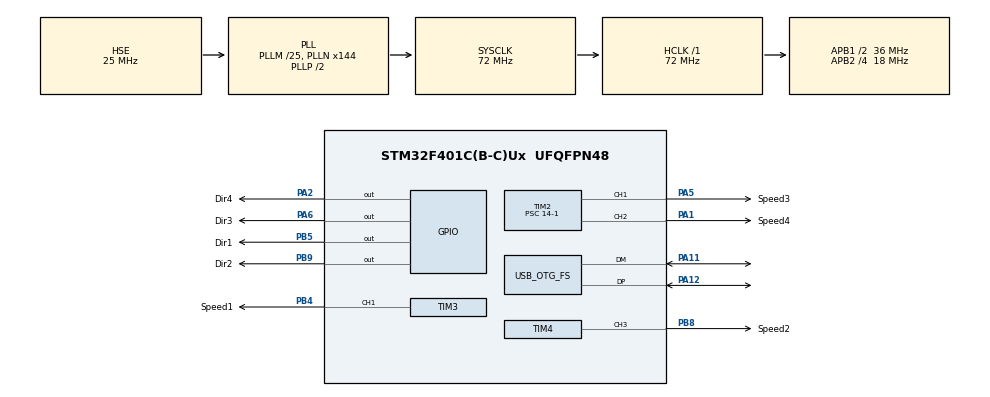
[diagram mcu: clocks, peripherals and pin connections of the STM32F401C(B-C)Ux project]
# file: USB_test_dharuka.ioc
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Mcu.Family=STM32F4
Mcu.Name=STM32F401C(B-C)Ux
Mcu.Package=UFQFPN48
NVIC.OTG_FS_IRQn=true\:0\:0\:false\:false\:true\:false\:true\:true
NVIC.PriorityGroup=NVIC_PRIORITYGROUP_4
PA1.GPIO_Label=Speed4
PA1.Signal=S_TIM2_CH2
PA11.Mode=Device_Only
PA11.Signal=USB_OTG_FS_DM
PA12.Mode=Device_Only
PA12.Signal=USB_OTG_FS_DP
PA2.GPIO_Label=Dir4
PA2.Signal=GPIO_Output
PA5.GPIO_Label=Speed3
PA5.Signal=S_TIM2_CH1_ETR
PA6.GPIO_Label=Dir3
PA6.Signal=GPIO_Output
PB4.GPIO_Label=Speed1
PB4.Signal=S_TIM3_CH1
PB5.GPIO_Label=Dir1
PB5.Signal=GPIO_Output
PB8.GPIO_Label=Speed2
PB8.Signal=S_TIM4_CH3
PB9.GPIO_Label=Dir2
PB9.Signal=GPIO_Output
PH0\ -\ OSC_IN.Mode=HSE-External-Oscillator
PH0\ -\ OSC_IN.Signal=RCC_OSC_IN
PH1\ -\ OSC_OUT.Mode=HSE-External-Oscillator
PH1\ -\ OSC_OUT.Signal=RCC_OSC_OUT
ProjectManager.HeapSize=0x200
ProjectManager.StackSize=0x400
ProjectManager.TargetToolchain=STM32CubeIDE
RCC.48MHZClocksFreq_Value=48000000
RCC.AHBFreq_Value=72000000
RCC.APB1CLKDivider=RCC_HCLK_DIV2
RCC.APB1Freq_Value=36000000
RCC.APB1TimFreq_Value=72000000
RCC.APB2CLKDivider=RCC_HCLK_DIV4
RCC.APB2Freq_Value=18000000
RCC.APB2TimFreq_Value=36000000
RCC.CortexFreq_Value=72000000
RCC.HCLKFreq_Value=72000000
RCC.HSE_VALUE=25000000
RCC.HSI_VALUE=16000000
RCC.LSE_VALUE=32768
RCC.PLLM=25
RCC.PLLN=144
RCC.PLLQ=3
RCC.SYSCLKFreq_VALUE=72000000
RCC.SYSCLKSource=RCC_SYSCLKSOURCE_PLLCLK
RCC.VCOOutputFreq_Value=144000000
SH.S_TIM2_CH1_ETR.0=TIM2_CH1,PWM Generation1 CH1
SH.S_TIM2_CH2.0=TIM2_CH2,PWM Generation2 CH2
SH.S_TIM3_CH1.0=TIM3_CH1,PWM Generation1 CH1
SH.S_TIM4_CH3.0=TIM4_CH3,PWM Generation3 CH3
TIM2.Channel-PWM\ Generation1\ CH1=TIM_CHANNEL_1
TIM2.Channel-PWM\ Generation2\ CH2=TIM_CHANNEL_2
TIM2.Period=255
TIM2.Prescaler=14-1
TIM3.Channel-PWM\ Generation1\ CH1=TIM_CHANNEL_1
TIM3.Period=255
TIM3.Prescaler=14-1
TIM4.Channel-PWM\ Generation3\ CH3=TIM_CHANNEL_3
TIM4.Period=255
TIM4.Prescaler=14-1
USB_DEVICE.CLASS_NAME_FS=CDC
USB_DEVICE.VirtualMode=Cdc
USB_DEVICE.VirtualModeFS=Cdc_FS
USB_OTG_FS.VirtualMode=Device_Only
VP_USB_DEVICE_VS_USB_DEVICE_CDC_FS.Mode=CDC_FS
board=custom

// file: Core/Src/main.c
/* USER CODE BEGIN Header */
/**
  ******************************************************************************
  * @file           : main.c
  * @brief          : Main program body
  ******************************************************************************
  * @attention
  *
  * Copyright (c) 2024 STMicroelectronics.
  * All rights reserved.
  *
  * This software is licensed under terms that can be found in the LICENSE file
  * in the root directory of this software component.
  * If no LICENSE file comes with this software, it is provided AS-IS.
  *
  ******************************************************************************
  */
/* USER CODE END Header */
#include "main.h"
#include "usb_device.h"

TIM_HandleTypeDef htim2;
TIM_HandleTypeDef htim3;
TIM_HandleTypeDef htim4;

/* USER CODE BEGIN PV */
uint8_t Buffer1[64];
uint8_t Buffer2[64];
uint8_t Buffer3[128];
uint8_t id[16];
uint8_t value1[16];
uint8_t value2[16];
uint8_t set=0;
uint8_t size=0;
uint8_t idx=14;
uint8_t nxt=0;
uint8_t j=0;
/* USER CODE END PV */

void SystemClock_Config(void);
static void MX_GPIO_Init(void);
static void MX_TIM2_Init(void);
static void MX_TIM3_Init(void);
static void MX_TIM4_Init(void);
/* USER CODE BEGIN PFP */
void USBRxHandler(uint8_t* buf,uint16_t len);
void Buffer_operation_strich(uint8_t *buf3,uint8_t *buf2,uint8_t *buf1);
uint8_t Buffer_trim_size(uint8_t *buf);
void filter_bytestream(uint8_t *buf);
void byte_stream_operation(uint8_t* buf);
/* USER CODE END PFP */

/* USER CODE BEGIN 0 */
void USBRxHandler(uint8_t* buf,uint16_t len){
	switch(set)
	{
	case(0):
			memset(Buffer1,0,64);
			memset(Buffer2,0,64);
			memcpy(Buffer1,buf,len);
			memset(buf,0,len);
			if(Buffer1[3]<=53)
			{
				Buffer_operation_strich(Buffer3,Buffer2,Buffer1);
				size=Buffer_trim_size(Buffer3);
				byte_stream_operation(Buffer3);
				TIM3->CCR1=value1[0];
				HAL_GPIO_WritePin(GPIOB,GPIO_PIN_5,value2[0]);
				TIM4->CCR3=value1[1];
				HAL_GPIO_WritePin(GPIOB,GPIO_PIN_9,value2[1]);
				TIM2->CCR1=value1[2];
				HAL_GPIO_WritePin(GPIOA,GPIO_PIN_6,value2[2]);
				TIM2->CCR2=value1[3];
				HAL_GPIO_WritePin(GPIOA,GPIO_PIN_2,value2[3]);
				set=0;
				return;

			}
			set++;
			return;
	case(1):
			memset(Buffer2,0,64);
			memcpy(Buffer2,buf,len);
			memset(buf,0,len);
			memset(Buffer3,0,64);
			Buffer_operation_strich(Buffer3,Buffer2,Buffer1);
			size=Buffer_trim_size(Buffer3);
			byte_stream_operation(Buffer3);
			TIM3->CCR1=value1[0];
			HAL_GPIO_WritePin(GPIOB,GPIO_PIN_5,value2[0]);
			TIM4->CCR3=value1[1];
			HAL_GPIO_WritePin(GPIOB,GPIO_PIN_9,value2[1]);
			TIM2->CCR1=value1[2];
			HAL_GPIO_WritePin(GPIOA,GPIO_PIN_6,value2[2]);
			TIM2->CCR2=value1[3];
			HAL_GPIO_WritePin(GPIOA,GPIO_PIN_2,value2[3]);
			set=0;
			return;
	}
	return;
}
void Buffer_operation_strich(uint8_t *buf3,uint8_t *buf2,uint8_t *buf1)
{
	for(uint8_t i=0;i<64;i++)
	{
		buf3[i]=buf1[i];
	}
	for(uint8_t i=0;i<64;i++)
	{
		buf3[64+i]=buf2[i];
	}
}
uint8_t Buffer_trim_size(uint8_t *buf)
{
	for(j=0;j<128;j++)
	{
		if (buf[j]=='.' && buf[j+1]== 0)
		{
			break;
		}
	}
	return j-1;
}
void filter_bytestream(uint8_t *buf)
{
	memset(id,0,16);
	memset(value1,0,16);
	memset(value2,0,16);
	while(idx<size)
	{
			id[nxt]=buf[idx+1];
			value1[nxt]=buf[idx+3];
			value2[nxt]=buf[idx+5];
			idx+=8;
			nxt++;
	}
}
void byte_stream_operation(uint8_t* buf)
{
	filter_bytestream(buf);
	nxt=0;
	idx=14;
	j=0;
}

/* USER CODE END 0 */

int main(void)
{

  /* MCU Configuration--------------------------------------------------------*/

  /* Reset of all peripherals, Initializes the Flash interface and the Systick. */
  HAL_Init();

  /* Configure the system clock */
  SystemClock_Config();

  /* Initialize all configured peripherals */
  MX_GPIO_Init();
  MX_TIM2_Init();
  MX_TIM3_Init();
  MX_TIM4_Init();
  MX_USB_DEVICE_Init();
  /* USER CODE BEGIN 2 */
  HAL_TIM_PWM_Start(&htim3,TIM_CHANNEL_1);
  HAL_TIM_PWM_Start(&htim4,TIM_CHANNEL_3);
  HAL_TIM_PWM_Start(&htim2,TIM_CHANNEL_1);
  HAL_TIM_PWM_Start(&htim2,TIM_CHANNEL_2);
  /* USER CODE END 2 */

  /* Infinite loop */
  while (1)
  {

    /* USER CODE BEGIN 3 */
	  HAL_Delay(10);
  }
  /* USER CODE END 3 */
}

void SystemClock_Config(void)
{
  RCC_OscInitTypeDef RCC_OscInitStruct = {0};
  RCC_ClkInitTypeDef RCC_ClkInitStruct = {0};

  /** Configure the main internal regulator output voltage
  */
  __HAL_RCC_PWR_CLK_ENABLE();
  __HAL_PWR_VOLTAGESCALING_CONFIG(PWR_REGULATOR_VOLTAGE_SCALE2);

  /** Initializes the RCC Oscillators according to the specified parameters
  * in the RCC_OscInitTypeDef structure.
  */
  RCC_OscInitStruct.OscillatorType = RCC_OSCILLATORTYPE_HSE;
  RCC_OscInitStruct.HSEState = RCC_HSE_ON;
  RCC_OscInitStruct.PLL.PLLState = RCC_PLL_ON;
  RCC_OscInitStruct.PLL.PLLSource = RCC_PLLSOURCE_HSE;
  RCC_OscInitStruct.PLL.PLLM = 25;
  RCC_OscInitStruct.PLL.PLLN = 144;
  RCC_OscInitStruct.PLL.PLLP = RCC_PLLP_DIV2;
  RCC_OscInitStruct.PLL.PLLQ = 3;
  if (HAL_RCC_OscConfig(&RCC_OscInitStruct) != HAL_OK)
  {
    Error_Handler();
  }

  /** Initializes the CPU, AHB and APB buses clocks
  */
  RCC_ClkInitStruct.ClockType = RCC_CLOCKTYPE_HCLK|RCC_CLOCKTYPE_SYSCLK
                              |RCC_CLOCKTYPE_PCLK1|RCC_CLOCKTYPE_PCLK2;
  RCC_ClkInitStruct.SYSCLKSource = RCC_SYSCLKSOURCE_PLLCLK;
  RCC_ClkInitStruct.AHBCLKDivider = RCC_SYSCLK_DIV1;
  RCC_ClkInitStruct.APB1CLKDivider = RCC_HCLK_DIV2;
  RCC_ClkInitStruct.APB2CLKDivider = RCC_HCLK_DIV4;

  if (HAL_RCC_ClockConfig(&RCC_ClkInitStruct, FLASH_LATENCY_2) != HAL_OK)
  {
    Error_Handler();
  }
}

static void MX_TIM2_Init(void)
{

  TIM_MasterConfigTypeDef sMasterConfig = {0};
  TIM_OC_InitTypeDef sConfigOC = {0};

  htim2.Instance = TIM2;
  htim2.Init.Prescaler = 14-1;
  htim2.Init.CounterMode = TIM_COUNTERMODE_UP;
  htim2.Init.Period = 255;
  htim2.Init.ClockDivision = TIM_CLOCKDIVISION_DIV1;
  htim2.Init.AutoReloadPreload = TIM_AUTORELOAD_PRELOAD_DISABLE;
  if (HAL_TIM_PWM_Init(&htim2) != HAL_OK)
  {
    Error_Handler();
  }
  sMasterConfig.MasterOutputTrigger = TIM_TRGO_RESET;
  sMasterConfig.MasterSlaveMode = TIM_MASTERSLAVEMODE_DISABLE;
  if (HAL_TIMEx_MasterConfigSynchronization(&htim2, &sMasterConfig) != HAL_OK)
  {
    Error_Handler();
  }
  sConfigOC.OCMode = TIM_OCMODE_PWM1;
  sConfigOC.Pulse = 0;
  sConfigOC.OCPolarity = TIM_OCPOLARITY_HIGH;
  sConfigOC.OCFastMode = TIM_OCFAST_DISABLE;
  if (HAL_TIM_PWM_ConfigChannel(&htim2, &sConfigOC, TIM_CHANNEL_1) != HAL_OK)
  {
    Error_Handler();
  }
  if (HAL_TIM_PWM_ConfigChannel(&htim2, &sConfigOC, TIM_CHANNEL_2) != HAL_OK)
  {
    Error_Handler();
  }
  HAL_TIM_MspPostInit(&htim2);

}

static void MX_TIM3_Init(void)
{

  TIM_MasterConfigTypeDef sMasterConfig = {0};
  TIM_OC_InitTypeDef sConfigOC = {0};

  htim3.Instance = TIM3;
  htim3.Init.Prescaler = 14-1;
  htim3.Init.CounterMode = TIM_COUNTERMODE_UP;
  htim3.Init.Period = 255;
  htim3.Init.ClockDivision = TIM_CLOCKDIVISION_DIV1;
  htim3.Init.AutoReloadPreload = TIM_AUTORELOAD_PRELOAD_DISABLE;
  if (HAL_TIM_PWM_Init(&htim3) != HAL_OK)
  {
    Error_Handler();
  }
  sMasterConfig.MasterOutputTrigger = TIM_TRGO_RESET;
  sMasterConfig.MasterSlaveMode = TIM_MASTERSLAVEMODE_DISABLE;
  if (HAL_TIMEx_MasterConfigSynchronization(&htim3, &sMasterConfig) != HAL_OK)
  {
    Error_Handler();
  }
  sConfigOC.OCMode = TIM_OCMODE_PWM1;
  sConfigOC.Pulse = 0;
  sConfigOC.OCPolarity = TIM_OCPOLARITY_HIGH;
  sConfigOC.OCFastMode = TIM_OCFAST_DISABLE;
  if (HAL_TIM_PWM_ConfigChannel(&htim3, &sConfigOC, TIM_CHANNEL_1) != HAL_OK)
  {
    Error_Handler();
  }
  HAL_TIM_MspPostInit(&htim3);

}

static void MX_TIM4_Init(void)
{

  TIM_MasterConfigTypeDef sMasterConfig = {0};
  TIM_OC_InitTypeDef sConfigOC = {0};

  htim4.Instance = TIM4;
  htim4.Init.Prescaler = 14-1;
  htim4.Init.CounterMode = TIM_COUNTERMODE_UP;
  htim4.Init.Period = 255;
  htim4.Init.ClockDivision = TIM_CLOCKDIVISION_DIV1;
  htim4.Init.AutoReloadPreload = TIM_AUTORELOAD_PRELOAD_DISABLE;
  if (HAL_TIM_PWM_Init(&htim4) != HAL_OK)
  {
    Error_Handler();
  }
  sMasterConfig.MasterOutputTrigger = TIM_TRGO_RESET;
  sMasterConfig.MasterSlaveMode = TIM_MASTERSLAVEMODE_DISABLE;
  if (HAL_TIMEx_MasterConfigSynchronization(&htim4, &sMasterConfig) != HAL_OK)
  {
    Error_Handler();
  }
  sConfigOC.OCMode = TIM_OCMODE_PWM1;
  sConfigOC.Pulse = 0;
  sConfigOC.OCPolarity = TIM_OCPOLARITY_HIGH;
  sConfigOC.OCFastMode = TIM_OCFAST_DISABLE;
  if (HAL_TIM_PWM_ConfigChannel(&htim4, &sConfigOC, TIM_CHANNEL_3) != HAL_OK)
  {
    Error_Handler();
  }
  HAL_TIM_MspPostInit(&htim4);

}

static void MX_GPIO_Init(void)
{
  GPIO_InitTypeDef GPIO_InitStruct = {0};

  /* GPIO Ports Clock Enable */
  __HAL_RCC_GPIOH_CLK_ENABLE();
  __HAL_RCC_GPIOA_CLK_ENABLE();
  __HAL_RCC_GPIOB_CLK_ENABLE();

  /*Configure GPIO pin Output Level */
  HAL_GPIO_WritePin(GPIOA, Dir4_Pin|Dir3_Pin, GPIO_PIN_RESET);

  /*Configure GPIO pin Output Level */
  HAL_GPIO_WritePin(GPIOB, Dir1_Pin|Dir2_Pin, GPIO_PIN_RESET);

  /*Configure GPIO pins : Dir4_Pin Dir3_Pin */
  GPIO_InitStruct.Pin = Dir4_Pin|Dir3_Pin;
  GPIO_InitStruct.Mode = GPIO_MODE_OUTPUT_PP;
  GPIO_InitStruct.Pull = GPIO_NOPULL;
  GPIO_InitStruct.Speed = GPIO_SPEED_FREQ_LOW;
  HAL_GPIO_Init(GPIOA, &GPIO_InitStruct);

  /*Configure GPIO pins : Dir1_Pin Dir2_Pin */
  GPIO_InitStruct.Pin = Dir1_Pin|Dir2_Pin;
  GPIO_InitStruct.Mode = GPIO_MODE_OUTPUT_PP;
  GPIO_InitStruct.Pull = GPIO_NOPULL;
  GPIO_InitStruct.Speed = GPIO_SPEED_FREQ_LOW;
  HAL_GPIO_Init(GPIOB, &GPIO_InitStruct);

}

void Error_Handler(void)
{
  __disable_irq();
  while (1)
  {
  }
}
